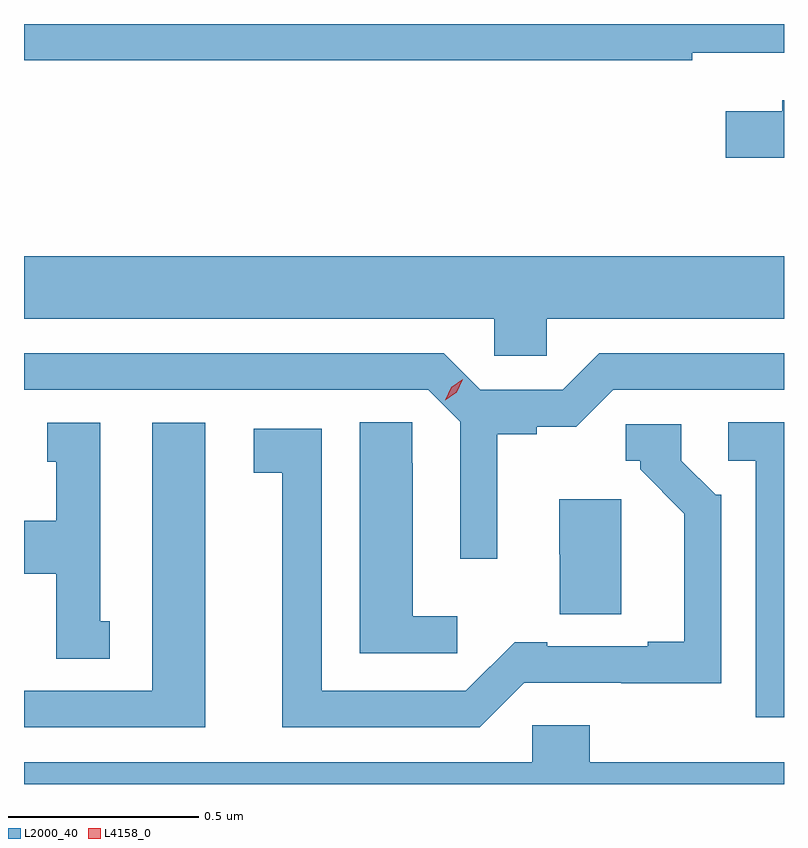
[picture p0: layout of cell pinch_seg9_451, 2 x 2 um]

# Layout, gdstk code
import gdstk
lib = gdstk.Library(unit=1e-6, precision=1e-09)
def P(c, l, *ps):  # polygons
    for p in ps: c.add(gdstk.Polygon(p, *l))
L2000_40 = (2000, 40)
L4158_0 = (4158, 0)

pinch_seg9_451 = lib.new_cell('pinch_seg9_451')
P(pinch_seg9_451, L2000_40, [(203.654,1211.772),(203.895,1211.772),(203.895,1211.847),(201.895,1211.847),(201.895,1211.752),(203.654,1211.752)],
  [(203.895,1211.646),(203.891,1211.646),(203.891,1211.617),(203.742,1211.617),(203.742,1211.495),(203.895,1211.495)],
  [(203.271,1211.072),(203.895,1211.072),(203.895,1211.236),(201.895,1211.236),(201.895,1211.072),(203.133,1211.072),(203.133,1210.974),(203.271,1210.974)],
  [(203.14,1210.768),(203.244,1210.768),(203.244,1210.787),(203.348,1210.787),(203.445,1210.884),(203.895,1210.884),(203.895,1210.98),(203.409,1210.98),(203.313,1210.884),(203.095,1210.884),(202.999,1210.98),(201.895,1210.98),(201.895,1210.884),(202.959,1210.884),(203.043,1210.8),(203.043,1210.44),(203.14,1210.44)],
  [(203.895,1210.799),(203.748,1210.799),(203.748,1210.698),(203.82,1210.698),(203.82,1210.023),(203.895,1210.023)],
  [(203.035,1210.288),(202.918,1210.288),(202.918,1210.691),(202.917,1210.691),(202.917,1210.799),(202.778,1210.799),(202.778,1210.191),(203.035,1210.191)],
  [(202.372,1210.798),(202.232,1210.798),(202.232,1210.092),(201.895,1210.092),(201.895,1209.996),(202.372,1209.996)],
  [(202.12,1210.275),(202.096,1210.275),(202.096,1210.798),(201.956,1210.798),(201.956,1210.695),(201.98,1210.695),(201.98,1210.54),(201.895,1210.54),(201.895,1210.4),(201.98,1210.4),(201.98,1210.177),(202.12,1210.177)],
  [(203.211,1210.113),(203.467,1210.113),(203.467,1210.112),(203.73,1210.112),(203.73,1210.608),(203.715,1210.608),(203.625,1210.698),(203.625,1210.794),(203.478,1210.794),(203.478,1210.698),(203.517,1210.698),(203.517,1210.675),(203.633,1210.558),(203.633,1210.222),(203.537,1210.222),(203.537,1210.209),(203.272,1210.209),(203.272,1210.22),(203.186,1210.22),(203.058,1210.092),(202.678,1210.092),(202.678,1210.782),(202.5,1210.782),(202.5,1210.666),(202.574,1210.666),(202.574,1209.996),(203.094,1209.996)],
  [(203.467,1210.597),(203.303,1210.597),(203.303,1210.452),(203.305,1210.452),(203.305,1210.294),(203.467,1210.294)],
  [(203.895,1209.904),(203.384,1209.904),(203.384,1210.002),(203.232,1210.002),(203.232,1209.904),(201.895,1209.904),(201.895,1209.847),(203.895,1209.847)])
P(pinch_seg9_451, L4158_0, [(203.003,1210.857),(203.003,1210.857),(203.019,1210.891),(203.049,1210.912),(203.05,1210.912),(203.05,1210.912),(203.034,1210.878),(203.003,1210.857)])

lib.write_gds('pinch_seg9_451.gds')
